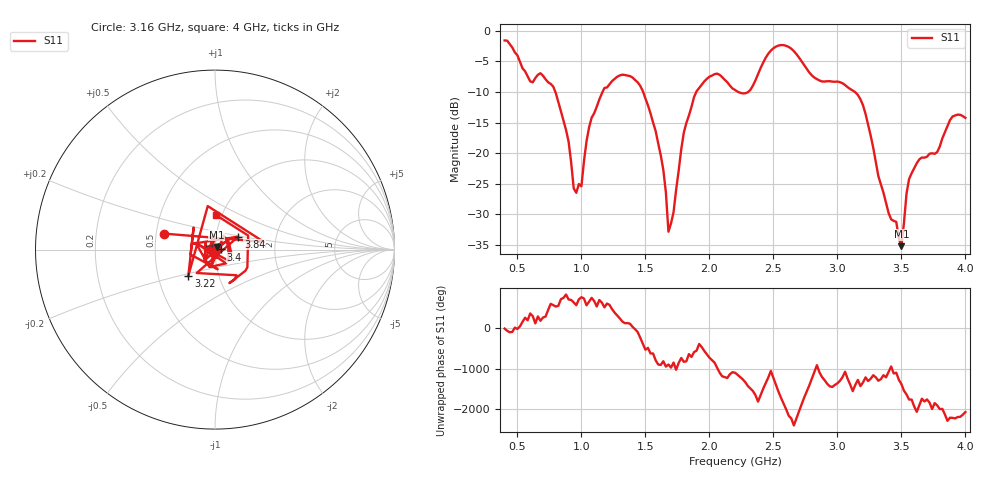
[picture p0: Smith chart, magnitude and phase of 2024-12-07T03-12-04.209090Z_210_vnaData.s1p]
!Created with skrf (http://scikit-rf.org).
# Hz S RI R 50.0
!freq ReS11 ImS11
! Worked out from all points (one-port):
!   181 points, 400 MHz to 4 GHz, reference 50 ohm
!   lowest |S11| = -35.2 dB at 3.5 GHz (marker M1), VSWR 1.04, Z = 50.9 + j1.53 ohm
!   |S11| at or under -10 dB: 796.3 MHz to 1.166 GHz (369.2 MHz wide, 37.6 % of centre); 1.482 GHz to 1.898 GHz (415.6 MHz wide, 24.6 % of centre); 3.136 GHz to end of sweep (the widest 3 of 4)
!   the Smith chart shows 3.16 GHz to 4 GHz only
!   S11 on the Smith chart (normalised r, x): 3.16 GHz: 0.55, +0.11; 3.22 GHz: 0.71, -0.22; 3.4 GHz: 1.07, +0.00; 3.84 GHz: 1.28, +0.19; 4 GHz: 0.93, +0.38
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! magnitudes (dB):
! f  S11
! 400 MHz  -1.6
! 600 MHz  -8.3
! 780 MHz  -9.1
! 860 MHz  -14.7
! 960 MHz  -26.5
! 1 GHz  -25.4
! 1.08 GHz  -14.2
! 1.3 GHz  -7.3
! 1.44 GHz  -8.4
! 1.54 GHz  -13.5
! 1.64 GHz  -22.7
! 1.68 GHz  -32.8
! 1.76 GHz  -22.9
! 1.8 GHz  -16.6
! 1.9 GHz  -9.9
! 2.06 GHz  -7.0
! 2.2 GHz  -9.7
! 2.32 GHz  -9.7
! 2.52 GHz  -2.6
! 2.66 GHz  -3.3
! 3.1 GHz  -9.5
! 3.16 GHz  -10.5
! 3.22 GHz  -13.6
! 3.4 GHz  -29.8
! 3.5 GHz  -35.2
! 3.56 GHz  -24.2
! 3.84 GHz  -16.6
! 4 GHz  -14.2
